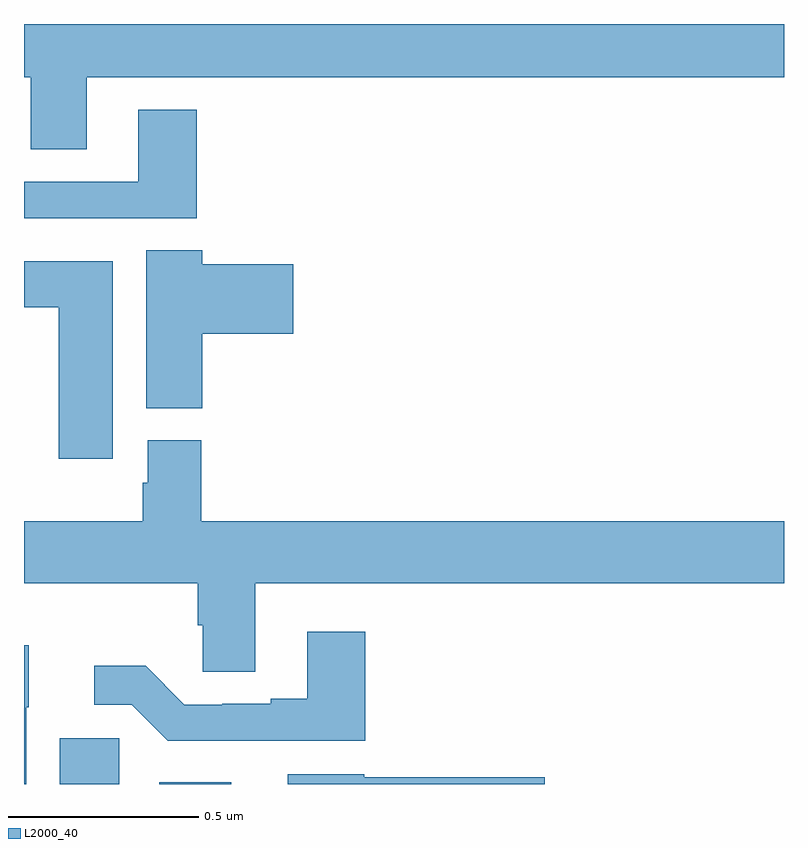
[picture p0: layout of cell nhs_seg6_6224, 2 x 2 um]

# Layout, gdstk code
import gdstk
lib = gdstk.Library(unit=1e-6, precision=1e-09)
def R(c, l, rs):  # rectangles x0, y0, x1, y1
    for r in rs: c.add(gdstk.rectangle(r[:2], r[2:], *l))
def P(c, l, *ps):  # polygons
    for p in ps: c.add(gdstk.Polygon(p, *l))
L2000_40 = (2000, 40)

nhs_seg6_6224 = lib.new_cell('nhs_seg6_6224')
R(nhs_seg6_6224, L2000_40, [(193.094,921.5,193.25,921.621), (193.356,921.5,193.546,921.505)])
P(nhs_seg6_6224, L2000_40, [(193.165,923.36),(195,923.36),(195,923.5),(193,923.5),(193,923.36),(193.018,923.36),(193.018,923.17),(193.165,923.17)],
  [(193.454,923.275),(193.301,923.275),(193.301,923.085),(193,923.085),(193,922.989),(193.454,922.989)],
  [(193.469,922.685),(193.708,922.685),(193.708,922.868),(193.469,922.868),(193.469,922.904),(193.322,922.904),(193.322,922.489),(193.469,922.489)],
  [(193.234,922.876),(193,922.876),(193,922.754),(193.091,922.754),(193.091,922.356),(193.234,922.356)],
  [(193.609,922.028),(195,922.028),(195,922.192),(193.466,922.192),(193.466,922.404),(193.325,922.404),(193.325,922.293),(193.313,922.293),(193.313,922.192),(193,922.192),(193,922.028),(193.457,922.028),(193.457,921.918),(193.47,921.918),(193.47,921.796),(193.609,921.796)],
  [(193.898,921.901),(193.745,921.901),(193.745,921.724),(193.649,921.724),(193.649,921.711),(193.522,921.711),(193.522,921.708),(193.422,921.708),(193.32,921.811),(193.185,921.811),(193.185,921.708),(193.284,921.708),(193.378,921.614),(193.898,921.614)],
  [(193.006,921.702),(193.012,921.702),(193.012,921.865),(193,921.865),(193,921.5),(193.006,921.5)],
  [(194.371,921.518),(193.896,921.518),(193.896,921.526),(193.694,921.526),(193.694,921.5),(194.371,921.5)])

lib.write_gds('nhs_seg6_6224.gds')
